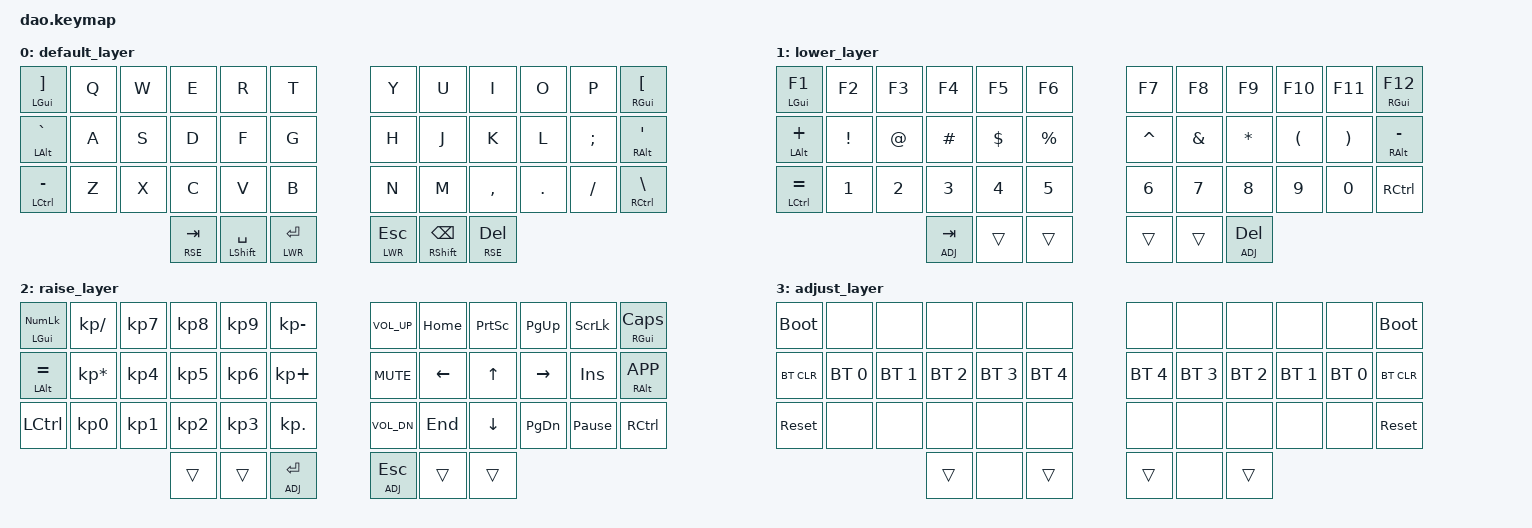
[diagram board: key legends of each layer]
/*
 * Copyright (c) 2021 Rafael Yumagulov
 *
 * SPDX-License-Identifier: MIT
 */

#include <behaviors.dtsi>
#include <dt-bindings/zmk/keys.h>
#include <dt-bindings/zmk/bt.h>

#define DEF 0
#define LWR 1
#define RSE 2
#define ADJ 3

&lt { quick_tap_ms = <200>; };
&mt { quick_tap_ms = <200>; };

/ {
    chosen {
        zmk,matrix_transform = &default_transform;
        // zmk,matrix_transform = &extra_keys_transform;
    };
};

/ {
        keymap {
                compatible = "zmk,keymap";

                default_layer {
                        bindings = <
          &mt LGUI RBKT         &kp Q   &kp W   &kp E           &kp R             &kp T         &kp Y         &kp U            &kp I         &kp O     &kp P      &mt RGUI LBKT       
          &mt LALT GRAVE        &kp A   &kp S   &kp D           &kp F             &kp G         &kp H         &kp J            &kp K         &kp L     &kp SEMI   &mt RALT SQT
          &mt LCTRL MINUS       &kp Z   &kp X   &kp C           &kp V             &kp B         &kp N         &kp M            &kp COMMA     &kp DOT   &kp FSLH   &mt RCTRL BSLH
                                                &lt RSE TAB     &mt LSHFT SPACE   &lt LWR RET   &lt LWR ESC   &mt RSHFT BSPC   &lt RSE DEL
                        >;
                };
                lower_layer {
                        bindings = <
          &mt LGUI F1           &kp F2     &kp F3       &kp F4        &kp F5     &kp F6         &kp F7      &kp F8     &kp F9        &kp F10    &kp F11    &mt RGUI F12           
          &mt LALT PLUS         &kp EXCL   &kp AT       &kp HASH      &kp DLLR   &kp PRCNT      &kp CARET   &kp AMPS   &kp STAR      &kp LPAR   &kp RPAR   &mt RALT MINUS
          &mt LCTRL EQUAL       &kp N1     &kp N2       &kp N3        &kp N4     &kp N5         &kp N6      &kp N7     &kp N8        &kp N9     &kp N0     &kp RCTRL
                                                        &lt ADJ TAB   &trans     &trans         &trans      &trans     &lt ADJ DEL
                        >;
                };

                raise_layer {
                        bindings = <
          &mt LGUI KP_NUM   &kp KP_SLASH      &kp KP_N7   &kp KP_N8   &kp KP_N9   &kp KP_MINUS   &kp C_VOL_UP   &kp HOME   &kp PSCRN   &kp PG_UP   &kp SLCK          &mt RGUI CLCK   
          &mt LALT EQUAL   &kp KP_MULTIPLY   &kp KP_N4   &kp KP_N5   &kp KP_N6   &kp KP_PLUS    &kp C_MUTE     &kp LEFT   &kp UP      &kp RIGHT   &kp INS           &mt RALT  K_APP
          &kp LCTRL          &kp KP_N0         &kp KP_N1   &kp KP_N2   &kp KP_N3   &kp KP_DOT     &kp C_VOL_DN   &kp END    &kp DOWN    &kp PG_DN   &kp PAUSE_BREAK   &kp RCTRL
                                                          &trans      &trans      &lt ADJ RET    &lt ADJ ESC    &trans     &trans
                        >;
                };
                adjust_layer {
                        bindings = <
 &bootloader   &none          &none          &none          &none          &none          &none          &none          &none          &none          &none          &bootloader
 &bt BT_CLR    &bt BT_SEL 0   &bt BT_SEL 1   &bt BT_SEL 2   &bt BT_SEL 3   &bt BT_SEL 4   &bt BT_SEL 4   &bt BT_SEL 3   &bt BT_SEL 2   &bt BT_SEL 1   &bt BT_SEL 0   &bt BT_CLR
 &sys_reset        &none          &none          &none          &none          &none          &none          &none          &none          &none          &none          &sys_reset
                                             &trans         &none          &trans         &trans         &none          &trans
                        >;
                };
        };
};
